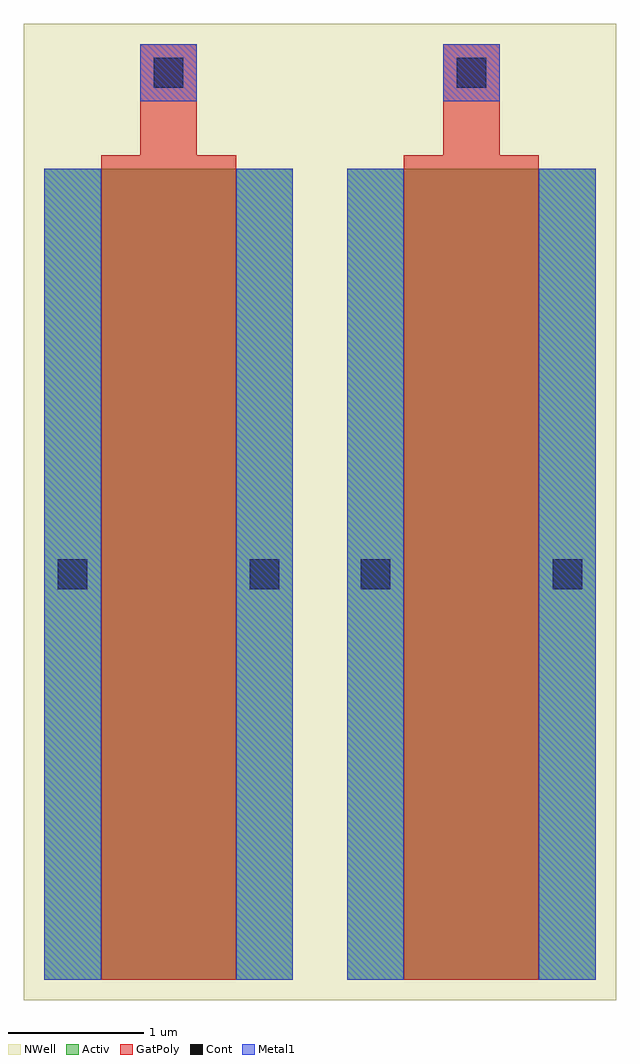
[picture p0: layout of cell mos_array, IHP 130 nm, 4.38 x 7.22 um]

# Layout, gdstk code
import gdstk
lib = gdstk.Library(unit=1e-6, precision=1e-09)
def R(c, l, rs):  # rectangles x0, y0, x1, y1
    for r in rs: c.add(gdstk.rectangle(r[:2], r[2:], *l))
Activ = (1, 0)
GatPoly = (5, 0)
Cont = (6, 0)
Metal1 = (8, 0)
NWell = (31, 0)

mos_array = lib.new_cell('mos_array')
R(mos_array, Activ, [(0,0,1.84,6), (2.24,0,4.08,6)])
R(mos_array, GatPoly, [(0.42,0,1.42,6), (2.66,0,3.66,6), (0.42,6,1.42,6.1), (2.66,6,3.66,6.1), (0.71,6.1,1.13,6.92), (2.95,6.1,3.37,6.92)])
R(mos_array, Cont, [(0.1,2.89,0.32,3.11), (1.52,2.89,1.74,3.11), (2.34,2.89,2.56,3.11), (3.76,2.89,3.98,3.11), (0.81,6.6,1.03,6.82), (3.05,6.6,3.27,6.82)])
R(mos_array, Metal1, [(0,0,0.42,6), (1.42,0,1.84,6), (2.24,0,2.66,6), (3.66,0,4.08,6), (0.71,6.5,1.13,6.92), (2.95,6.5,3.37,6.92)])
R(mos_array, NWell, [(-0.15,-0.15,4.23,7.07)])

lib.write_gds('mos_array.gds')
